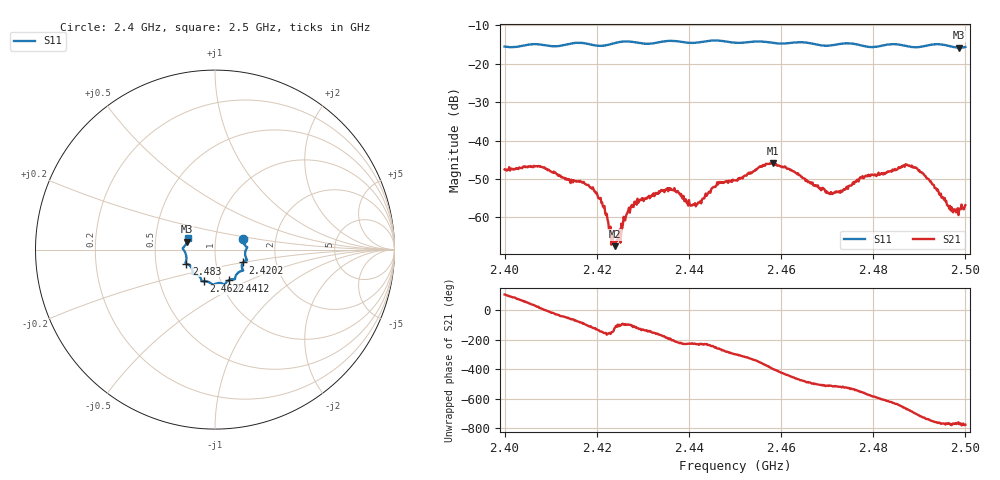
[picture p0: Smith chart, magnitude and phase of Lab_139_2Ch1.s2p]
# Hz S RI R 50
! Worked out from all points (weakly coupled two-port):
!   601 points, 2.4 GHz to 2.5 GHz, reference 50 ohm
!   highest |S21| = -45.87 dB at 2.4582 GHz (marker M1); lowest = -67.5 dB at 2.424 GHz (marker M2)
!   lowest |S11| = -15.8 dB at 2.4987 GHz (marker M3), VSWR 1.39, Z = 36.4 + j3.27 ohm
!   |S11| at or under -10 dB: start of sweep to end of sweep
!   S12 and S22 are empty: the file has one direction only
!   S11 on the Smith chart (normalised r, x): 2.4 GHz: 1.36, +0.17; 2.4202 GHz: 1.35, -0.20; 2.4412 GHz: 1.09, -0.39; 2.4622 GHz: 0.83, -0.30; 2.483 GHz: 0.72, -0.12; 2.5 GHz: 0.73, +0.09
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2.4e9  0.1563 0.06  -0.00123 0.00402  0 0  0 0
2.407333e9  0.1788 0.0109  0.00426 0.00188  0 0  0 0
2.416667e9  0.1777 -0.0585  0.000257 -0.00291  0 0  0 0
2.420167e9  0.1559 -0.0718  -0.0013 -0.00142  0 0  0 0
2.421167e9  0.1511 -0.081  -0.0013 -0.000858  0 0  0 0
2.424e9  0.1528 -0.1072  -0.000194 -0.000375  0 0  0 0
2.427167e9  0.1553 -0.1169  -0.00017 -0.00114  0 0  0 0
2.433333e9  0.113 -0.1523  -0.00194 -0.000572  0 0  0 0
2.4365e9  0.1098 -0.1654  -0.00209 0.000922  0 0  0 0
2.441167e9  0.0753 -0.1716  -0.000997 0.00108  0 0  0 0
2.4465e9  0.0504 -0.1937  -0.0005 0.0028  0 0  0 0
2.45e9  0.0265 -0.1861  0.00146 0.00266  0 0  0 0
2.458167e9  -0.0262 -0.1857  0.00394 -0.00321  0 0  0 0
2.462167e9  -0.0632 -0.1764  -6.19e-05 -0.00416  0 0  0 0
2.466667e9  -0.0766 -0.1668  -0.00204 -0.00184  0 0  0 0
2.471e9  -0.1059 -0.1381  -0.00184 -0.000887  0 0  0 0
2.483e9  -0.1593 -0.0782  -0.000857 0.00375  0 0  0 0
2.483333e9  -0.1608 -0.0774  -0.000786 0.00385  0 0  0 0
2.489167e9  -0.1606 -0.033  0.00427 0.0014  0 0  0 0
2.496833e9  -0.1668 0.0227  0.00075 -0.000974  0 0  0 0
2.498667e9  -0.1561 0.0437  0.000745 -0.00107  0 0  0 0
2.5e9  -0.1531 0.0628  0.00076 -0.00123  0 0  0 0
